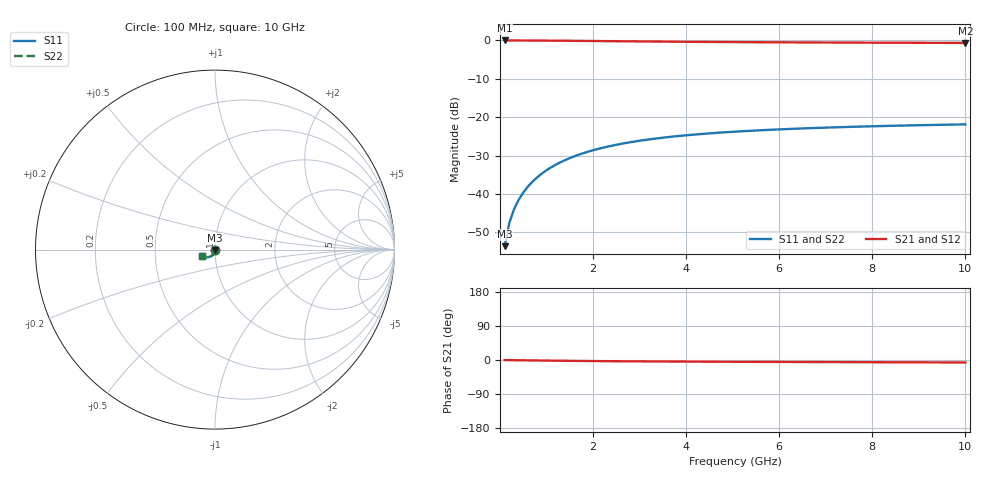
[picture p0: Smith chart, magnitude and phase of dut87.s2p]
! Touchstone file exported from HFSS 2024.1.0
!  File:  C:/UserFiles/LocalFiles/RDL_TSV_Batchsim/temp_TSV1_87_1779375774.aedt
!  Generated:  11:08:22 PM May 21, 2026
!  Design:  TSV1
!  Project:  temp_TSV1_87_1779375774
!  Setup:  Setup1
!  Solution:  Sweep
! Variables:
!  dtsv = 12.98um
!  hbump = 3um
!  htsv = 99.97um
!  lrdl = 252.1521522um
!  p = 40
!  p1 = 41.56um
!  t = 500um
!  trdl = 3um
!  wrdl = 24.89489489um
# GHz S MA R 50.000000
! Terminal data exported
! Port[1] = TSV22_T1
! Port[2] = TSV22_T2
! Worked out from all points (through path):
!   100 points, 100 MHz to 10 GHz, reference 50 ohm
!   highest |S21| = 0.00 dB at 100 MHz (marker M1); lowest = -0.6 dB at 10 GHz (marker M2)
!   lowest |S11| = -53.6 dB at 100 MHz (marker M3), VSWR 1.00, Z = 50 - j0.21 ohm
!   |S11| at or under -10 dB: start of sweep to end of sweep
!   |S22| runs from -53.6 to -21.9 dB; largest |S21 - S12| = 7.7e-15
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0.1  0.002097 -88.5  0.9998 -0.2  0.9998 -0.2  0.002097 -88.5
! Gamma 0 0 0 0
! Port Impedance 50 0 50 0
0.2  0.004191 -91.3  0.9997 -0.3  0.9997 -0.3  0.004191 -91.3
0.3  0.006287 -93.1  0.9994 -0.5  0.9994 -0.5  0.006287 -93.1
0.4  0.008375 -94.8  0.999 -0.7  0.999 -0.7  0.008375 -94.8
0.5  0.01045 -96.4  0.9985 -0.8  0.9985 -0.8  0.01045 -96.4
0.6  0.0125 -98.0  0.9979 -1.0  0.9979 -1.0  0.0125 -98.0
0.7  0.01453 -99.5  0.9972 -1.1  0.9972 -1.1  0.01453 -99.5
0.8  0.01652 -101.0  0.9965 -1.3  0.9965 -1.3  0.01652 -101.0
0.9  0.01848 -102.4  0.9957 -1.4  0.9957 -1.4  0.01848 -102.4
1.1  0.02228 -105.2  0.9939 -1.7  0.9939 -1.7  0.02228 -105.2
1.4  0.02767 -109.2  0.9907 -2.1  0.9907 -2.1  0.02767 -109.2
1.6  0.03103 -111.7  0.9885 -2.3  0.9885 -2.3  0.03103 -111.7
1.8  0.0342 -114.1  0.9861 -2.6  0.9861 -2.6  0.0342 -114.1
2.1  0.0386 -117.4  0.9824 -2.9  0.9824 -2.9  0.0386 -117.4
2.5  0.04383 -121.5  0.9775 -3.2  0.9775 -3.2  0.04383 -121.5
2.9  0.0484 -125.1  0.9727 -3.5  0.9727 -3.5  0.0484 -125.1
3.4  0.05331 -129.0  0.9671 -3.9  0.9671 -3.9  0.05331 -129.0
4.2  0.05966 -134.3  0.9593 -4.3  0.9593 -4.3  0.05966 -134.3
5.1  0.06518 -139.0  0.9519 -4.7  0.9519 -4.7  0.06518 -139.0
6.7  0.07224 -145.3  0.9419 -5.3  0.9419 -5.3  0.07224 -145.3
8.4  0.07735 -150.1  0.9344 -5.9  0.9344 -5.9  0.07735 -150.1
10  0.08079 -153.5  0.9292 -6.5  0.9292 -6.5  0.08079 -153.5
